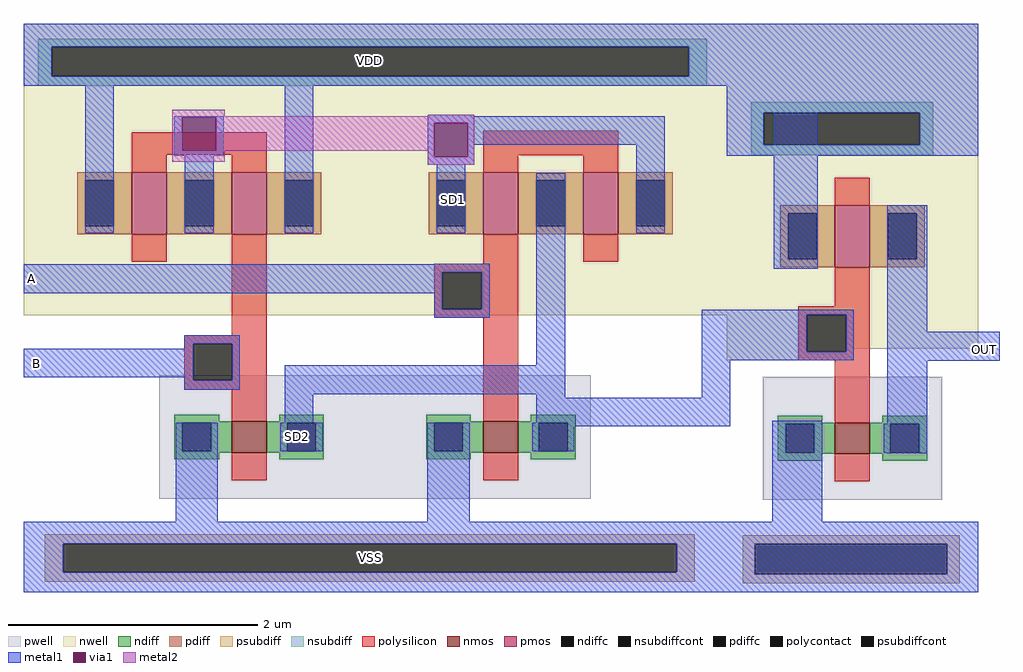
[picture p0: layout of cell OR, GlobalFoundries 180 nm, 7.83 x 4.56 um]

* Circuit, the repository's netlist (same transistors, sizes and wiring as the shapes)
* NGSPICE file created from OR.ext - technology: gf180mcuC

.subckt nmos_3p3_H9QVWA a_n120_n36# a_28_n25# a_n28_n69# VSUBS
X0 a_28_n25# a_n28_n69# a_n120_n36# VSUBS nfet_03v3 ad=0.155p pd=1.64u as=0.155p ps=1.64u w=0.25u l=0.28u
.ends

.subckt pmos_3p3_MGRWPS a_n52_n50# a_n196_n50# a_52_n94# a_108_n50# a_n108_n94# w_n282_n180#
X0 a_108_n50# a_52_n94# a_n52_n50# w_n282_n180# pfet_03v3 ad=0.22p pd=1.88u as=0.13p ps=1.02u w=0.5u l=0.28u
X1 a_n52_n50# a_n108_n94# a_n196_n50# w_n282_n180# pfet_03v3 ad=0.13p pd=1.02u as=0.22p ps=1.88u w=0.5u l=0.28u
.ends

.subckt pmos_3p3_M8RWPS a_n28_n94# w_n202_n180# a_n116_n50# a_28_n50#
X0 a_28_n50# a_n28_n94# a_n116_n50# w_n202_n180# pfet_03v3 ad=0.22p pd=1.88u as=0.22p ps=1.88u w=0.5u l=0.28u
.ends

.subckt Inverter VDD VSS IN OUT
Xnmos_3p3_H9QVWA_0 VSS OUT IN VSS nmos_3p3_H9QVWA
Xpmos_3p3_M8RWPS_0 IN VDD VDD OUT pmos_3p3_M8RWPS
.ends

.subckt OR A B VSS VDD OUT
Xnmos_3p3_H9QVWA_0 VSS Inverter_0/IN A VSS nmos_3p3_H9QVWA
Xpmos_3p3_MGRWPS_0 Inverter_0/IN m1_242_550# A m1_242_550# A VDD pmos_3p3_MGRWPS
Xnmos_3p3_H9QVWA_1 VSS Inverter_0/IN B VSS nmos_3p3_H9QVWA
Xpmos_3p3_MGRWPS_1 m1_242_550# VDD B VDD B VDD pmos_3p3_MGRWPS
XInverter_0 VDD VSS Inverter_0/IN OUT Inverter
.ends

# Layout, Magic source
magic
tech gf180mcuC
magscale 1 10
<< nwell >>
rect 0 663 1532 762
rect 0 646 1128 663
rect 174 581 390 588
rect 738 551 954 590
rect 898 361 954 380
<< pwell >>
rect 506 0 622 198
<< psubdiff >>
rect 34 -72 1077 -57
rect 34 -118 64 -72
rect 1048 -118 1077 -72
rect 34 -133 1077 -118
<< nsubdiff >>
rect 24 725 1096 738
rect 24 678 45 725
rect 1067 678 1096 725
rect 24 663 1096 678
<< psubdiffcont >>
rect 64 -118 1048 -72
<< nsubdiffcont >>
rect 45 678 1067 725
<< polysilicon >>
rect 174 552 390 588
rect 738 551 954 590
rect 334 262 390 380
rect 738 377 794 380
rect 659 363 794 377
rect 659 304 672 363
rect 735 304 794 363
rect 659 290 794 304
rect 258 249 390 262
rect 258 190 272 249
rect 335 190 390 249
rect 258 175 390 190
rect 334 168 390 175
rect 738 168 794 290
<< polycontact >>
rect 672 304 735 363
rect 272 190 335 249
<< metal1 >>
rect 0 725 1532 762
rect 0 678 45 725
rect 1067 678 1532 725
rect 0 663 1532 678
rect 99 426 145 663
rect 242 612 321 614
rect 242 558 255 612
rect 309 558 321 612
rect 242 550 321 558
rect 259 426 305 550
rect 419 426 465 663
rect 1128 619 1527 663
rect 649 614 723 616
rect 649 603 1029 614
rect 649 549 659 603
rect 713 568 1029 603
rect 713 549 723 568
rect 649 536 723 549
rect 663 426 709 536
rect 659 376 748 377
rect 0 363 748 376
rect 0 330 672 363
rect 659 304 672 330
rect 735 304 748 363
rect 659 290 748 304
rect 258 249 347 262
rect 258 241 272 249
rect 0 195 272 241
rect 258 190 272 195
rect 335 190 347 249
rect 823 214 869 522
rect 983 426 1029 568
rect 1204 498 1274 619
rect 258 175 347 190
rect 419 168 869 214
rect 419 122 465 168
rect 823 162 869 168
rect 1088 222 1214 303
rect 1088 162 1134 222
rect 1485 221 1566 268
rect 823 122 1134 162
rect 244 -37 312 122
rect 412 76 480 122
rect 648 -37 716 122
rect 816 116 1134 122
rect 816 76 884 116
rect 0 -72 1514 -37
rect 0 -118 64 -72
rect 1048 -118 1514 -72
rect 0 -150 1514 -118
<< via1 >>
rect 255 558 309 612
rect 659 549 713 603
<< metal2 >>
rect 239 614 323 624
rect 649 614 723 616
rect 239 612 723 614
rect 239 558 255 612
rect 309 603 723 612
rect 309 558 659 603
rect 239 541 323 558
rect 649 549 659 558
rect 713 549 723 603
rect 649 536 723 549
use Inverter  Inverter_0
transform 1 0 1246 0 1 64
box -118 -214 286 599
use nmos_3p3_H9QVWA  nmos_3p3_H9QVWA_0
transform 1 0 766 0 1 99
box -144 -99 144 99
use nmos_3p3_H9QVWA  nmos_3p3_H9QVWA_1
transform 1 0 362 0 1 99
box -144 -99 144 99
use pmos_3p3_MGRWPS  pmos_3p3_MGRWPS_0
transform 1 0 846 0 1 474
box -282 -180 282 180
use pmos_3p3_MGRWPS  pmos_3p3_MGRWPS_1
transform 1 0 282 0 1 474
box -282 -180 282 180
<< labels >>
flabel metal1 13 353 13 353 0 FreeSans 640 0 0 0 A
port 1 nsew
flabel metal1 21 217 21 217 0 FreeSans 640 0 0 0 B
port 2 nsew
flabel psubdiffcont 556 -94 556 -94 0 FreeSans 640 0 0 0 VSS
port 3 nsew
flabel nsubdiffcont 555 703 555 703 0 FreeSans 640 0 0 0 VDD
port 4 nsew
flabel metal1 1542 239 1542 239 0 FreeSans 640 0 0 0 OUT
port 5 nsew
flabel metal1 690 480 690 480 0 FreeSans 480 0 0 0 SD1
port 6 nsew
flabel metal1 440 100 440 100 0 FreeSans 480 0 0 0 SD2
port 7 nsew
<< end >>

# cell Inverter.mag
magic
tech gf180mcuC
magscale 1 10
<< nwell >>
rect -118 486 286 599
rect -42 305 28 486
rect 1 239 86 245
rect -118 158 86 239
<< psubdiff >>
rect -92 -136 256 -123
rect -92 -185 -73 -136
rect 236 -185 256 -136
rect -92 -200 256 -185
<< nsubdiff >>
rect -78 555 214 572
rect -78 504 -58 555
rect 192 504 214 555
rect -78 487 214 504
<< psubdiffcont >>
rect -73 -185 236 -136
<< nsubdiffcont >>
rect -58 504 192 555
<< polysilicon >>
rect 56 245 112 263
rect -3 231 112 245
rect -3 172 11 231
rect 74 172 112 231
rect -3 158 112 172
rect 56 102 112 158
<< polycontact >>
rect 11 172 74 231
<< metal1 >>
rect -118 555 286 599
rect -118 504 -58 555
rect 192 504 286 555
rect -118 486 286 504
rect -42 305 28 486
rect -118 231 86 239
rect -118 172 11 231
rect 74 172 86 231
rect -118 158 86 172
rect 140 204 204 407
rect 140 157 286 204
rect -45 -101 36 61
rect 140 9 204 157
rect -118 -136 286 -101
rect -118 -185 -73 -136
rect 236 -185 286 -136
rect -118 -214 286 -185
use nmos_3p3_H9QVWA  nmos_3p3_H9QVWA_0
transform 1 0 84 0 1 33
box -144 -99 144 99
use pmos_3p3_M8RWPS  pmos_3p3_M8RWPS_0 ~/GF180Projects/GF_INV/Magic
transform 1 0 84 0 1 357
box -202 -180 202 180
<< labels >>
flabel nsubdiffcont 67 530 67 530 0 FreeSans 640 0 0 0 VDD
port 1 nsew
flabel psubdiffcont 81 -162 81 -162 0 FreeSans 640 0 0 0 VSS
port 2 nsew
flabel metal1 -95 199 -95 199 0 FreeSans 640 0 0 0 IN
port 3 nsew
flabel metal1 272 172 272 172 0 FreeSans 640 0 0 0 OUT
port 5 nsew
<< end >>

# cell nmos_3p3_H9QVWA: kit device nmos_3p3, w 0.250 l 0.280 m 1 nf 1 diffcov 100 polycov 100 guard 0 glc 0 grc 0 gtc 0 gbc 0 tbcov 100 rlcov 100 topc 0 botc 0 poverlap 0 doverlap 1 lmin 0.28 wmin 0.22 full_metal 0 compatible {nmos_3p3 nmos_6p0 nmos_6p0_nat}

# cell pmos_3p3_MGRWPS: kit device pmos_3p3, w 0.50 l 0.280 m 1 nf 2 diffcov 100 polycov 100 guard 0 glc 0 grc 0 gtc 0 gbc 0 tbcov 100 rlcov 100 topc 0 botc 0 poverlap 0 doverlap 1 lmin 0.28 wmin 0.22 full_metal 0 compatible {pmos_3p3 pmos_6p0}

# cell pmos_3p3_M8RWPS: kit device pmos_3p3, w 0.50 l 0.280 m 1 nf 1 diffcov 100 polycov 100 guard 0 glc 0 grc 0 gtc 0 gbc 0 tbcov 100 rlcov 100 topc 0 botc 0 poverlap 0 doverlap 1 lmin 0.28 wmin 0.22 full_metal 0 compatible {pmos_3p3 pmos_6p0}
